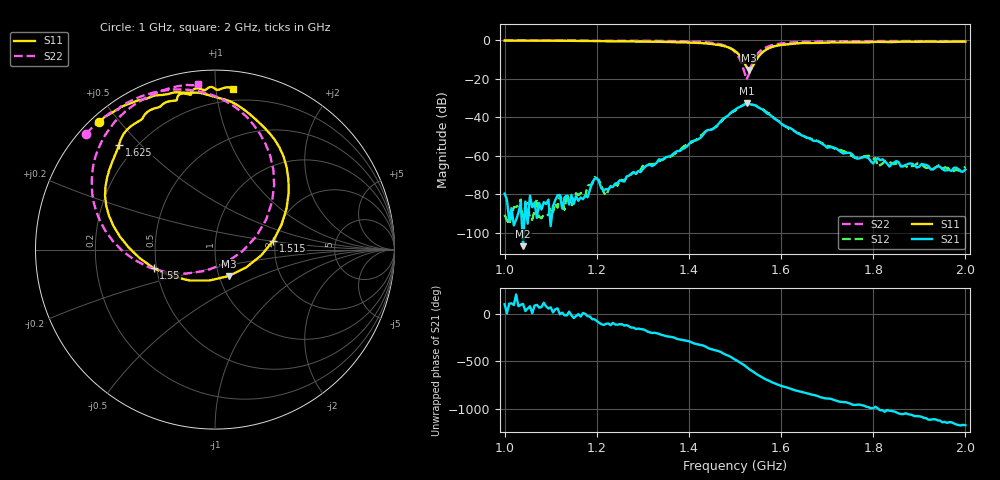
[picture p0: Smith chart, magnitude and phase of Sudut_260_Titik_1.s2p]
# Hz S RI R 50
! CMT, C1220, 16058040, 17.2.0/1
! Date: 14/08/2018 12:57:58
! Data: Format (Calibration Info)
! Freq  S11: Re/Im (F2)  S21: Re/Im (F2)  S12: Re/Im (F2)  S22: Re/Im (F2)
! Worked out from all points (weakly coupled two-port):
!   201 points, 1 GHz to 2 GHz, reference 50 ohm
!   highest |S21| = -32.89 dB at 1.525 GHz (marker M1); lowest = -106.8 dB at 1.04 GHz (marker M2)
!   lowest |S11| = -15.6 dB at 1.53 GHz (marker M3), VSWR 1.40, Z = 55.6 - j16.8 ohm
!   |S11| at or under -10 dB: 1.516 GHz to 1.547 GHz (31.36 MHz wide, 2.05 % of centre)
!   |S22| runs from -20.4 to -0.3 dB; largest |S21 - S12| = 0.00092
!   S11 on the Smith chart (normalised r, x): 1 GHz: 0.02, +0.44; 1.515 GHz: 1.95, +0.22; 1.55 GHz: 0.48, -0.12; 1.625 GHz: 0.14, +0.43; 2 GHz: 0.12, +1.11
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1e9  -0.6475 0.7119  -1.75e-05 0.000104  -2.38e-05 1.78e-05  -0.7191 0.6458
1.04e9  -0.6119 0.7407  -9.42e-07 4.48e-06  -1.04e-05 -8.53e-06  -0.69 0.6747
1.17e9  -0.4613 0.8189  7.43e-05 8.64e-06  9.69e-05 -5.43e-05  -0.5768 0.7656
1.18e9  -0.4469 0.8252  7.57e-05 -3.76e-05  0.000119 -0.000119  -0.5656 0.7716
1.195e9  -0.4242 0.8324  0.000129 -0.000217  0.000146 -0.000238  -0.5477 0.7776
1.22e9  -0.3895 0.8391  -4.06e-05 -0.000132  -1.89e-05 -9.22e-05  -0.5309 0.791
1.25e9  -0.3409 0.8566  -8.18e-05 -0.000219  -8.07e-05 -0.000227  -0.4949 0.8149
1.335e9  -0.1891 0.8748  -0.000673 0.000446  -0.000586 0.000421  -0.3601 0.8699
1.45e9  0.1925 0.7554  0.0046 -0.00133  0.00461 -0.00168  0.0467 0.8335
1.5e9  0.4104 0.3144  -0.00828 -0.0131  -0.0078 -0.0123  0.3297 0.3607
1.515e9  0.3253 0.0504  -0.0191 -0.00431  -0.0191 -0.00487  0.2291 0.0724
1.525e9  0.1746 -0.0986  -0.0211 0.0084  -0.0214 0.00838  0.0581 -0.0752
1.53e9  0.0763 -0.1471  -0.0164 0.0145  -0.0166 0.0146  -0.0505 -0.1178
1.55e9  -0.3405 -0.104  0.00508 0.0174  0.0044 0.0176  -0.4495 -0.057
1.58e9  -0.6065 0.2465  0.0105 -0.000405  0.0108 -0.000873  -0.6761 0.2649
1.625e9  -0.5354 0.5835  0.000923 -0.00468  0.000969 -0.00442  -0.6498 0.5619
1.67e9  -0.4198 0.7179  -0.00177 -0.00169  -0.00192 -0.00183  -0.5667 0.7013
1.76e9  -0.2523 0.8268  -0.000432 0.0008  -0.000462 0.000752  -0.4203 0.8257
1.805e9  -0.1974 0.8649  -0.000128 0.000784  0.00021 0.000832  -0.3557 0.8609
1.81e9  -0.1871 0.8686  0.000121 0.00086  0.000292 0.000443  -0.349 0.864
1.835e9  -0.1378 0.8626  0.00028 0.000445  0.000455 0.0005  -0.3152 0.8779
2e9  0.0981 0.8957  -4.23e-05 -0.00044  -3.58e-05 -0.000522  -0.0975 0.9224
